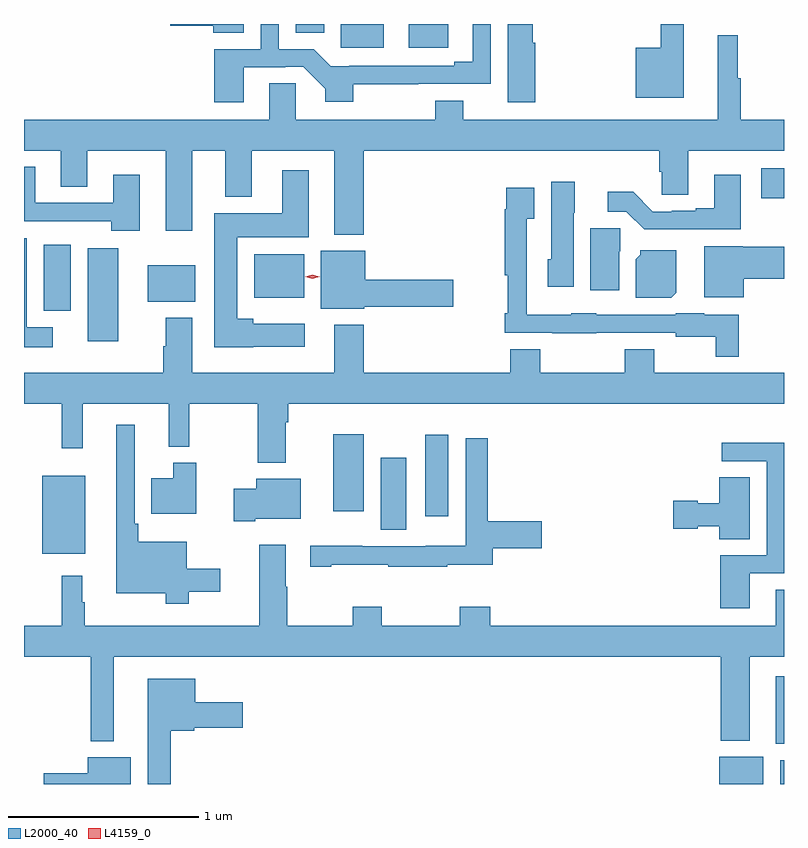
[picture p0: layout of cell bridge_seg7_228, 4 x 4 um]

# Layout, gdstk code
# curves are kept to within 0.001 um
import gdstk
lib = gdstk.Library(unit=1e-6, precision=1e-09)
def R(c, l, rs):  # rectangles x0, y0, x1, y1
    for r in rs: c.add(gdstk.rectangle(r[:2], r[2:], *l))
def P(c, l, *ps):  # polygons
    for p in ps: c.add(gdstk.Polygon(p, *l))
L2000_40 = (2000, 40)
L4159_0 = (4159, 0)

bridge_seg7_228 = lib.new_cell('bridge_seg7_228')
R(bridge_seg7_228, L2000_40, [(283.016,1062.551,283.249,1062.694), (283.337,1062.551,283.357,1062.676), (283.313,1062.764,283.357,1063.117), (279.452,1063.763,279.679,1064.173), (281.234,1063.888,281.368,1064.269), (281.468,1063.959,281.59,1064.389), (280.985,1063.986,281.146,1064.392), (279.692,1064.88,279.853,1065.37), (279.461,1065.041,279.604,1065.388), (280.007,1065.089,280.258,1065.28), (280.568,1065.11,280.831,1065.34), (283.236,1065.635,283.357,1065.793), (281.024,1066.427,281.251,1066.551), (281.381,1066.427,281.59,1066.551), (280.787,1066.504,280.936,1066.551)])
P(bridge_seg7_228, L2000_40, [(280.513,1066.323),(280.733,1066.323),(280.733,1066.326),(280.827,1066.326),(280.943,1066.21),(280.943,1066.142),(281.091,1066.142),(281.091,1066.235),(281.814,1066.236),(281.814,1066.551),(281.718,1066.551),(281.718,1066.352),(281.621,1066.352),(281.621,1066.332),(281.068,1066.332),(281.068,1066.329),(280.972,1066.329),(280.882,1066.419),(280.698,1066.419),(280.698,1066.551),(280.602,1066.551),(280.602,1066.419),(280.358,1066.419),(280.358,1066.14),(280.513,1066.14)],
  [(282.047,1066.452),(282.034,1066.452),(282.034,1066.551),(281.903,1066.551),(281.903,1066.14),(282.047,1066.14)],
  [(282.829,1066.551),(282.708,1066.551),(282.708,1066.426),(282.578,1066.426),(282.578,1066.163),(282.829,1066.163)],
  [(280.513,1066.551),(280.128,1066.551),(280.128,1066.541),(280.352,1066.541),(280.352,1066.504),(280.513,1066.504)],
  [(283.357,1066.048),(283.129,1066.048),(283.129,1066.265),(283.114,1066.265),(283.114,1066.492),(283.007,1066.492),(283.007,1066.048),(281.668,1066.048),(281.668,1066.147),(281.521,1066.147),(281.521,1066.048),(280.788,1066.048),(280.788,1066.238),(280.649,1066.238),(280.649,1066.048),(279.357,1066.048),(279.357,1065.884),(279.551,1065.884),(279.551,1065.694),(279.691,1065.694),(279.691,1065.884),(280.103,1065.884),(280.103,1065.462),(280.243,1065.462),(280.243,1065.884),(280.415,1065.884),(280.415,1065.641),(280.555,1065.641),(280.555,1065.884),(280.991,1065.884),(280.991,1065.443),(281.144,1065.443),(281.144,1065.884),(282.701,1065.884),(282.701,1065.774),(282.714,1065.774),(282.714,1065.652),(282.853,1065.652),(282.853,1065.884),(283.357,1065.884)],
  [(279.967,1065.757),(279.827,1065.757),(279.827,1065.609),(279.415,1065.609),(279.415,1065.799),(279.357,1065.799),(279.357,1065.513),(279.815,1065.513),(279.815,1065.462),(279.967,1065.462)],
  [(280.563,1064.852),(280.834,1064.852),(280.834,1064.974),(280.563,1064.974),(280.563,1065.001),(280.48,1065.001),(280.48,1065.428),(280.855,1065.428),(280.855,1065.781),(280.715,1065.781),(280.715,1065.556),(280.358,1065.556),(280.358,1064.849),(280.563,1064.849)],
  [(283.129,1065.757),(282.989,1065.757),(282.989,1065.58),(282.893,1065.58),(282.893,1065.567),(282.766,1065.567),(282.766,1065.564),(282.666,1065.564),(282.564,1065.667),(282.429,1065.667),(282.429,1065.564),(282.528,1065.564),(282.622,1065.47),(283.129,1065.47)],
  [(282.25,1065.558),(282.256,1065.558),(282.256,1065.721),(282.131,1065.721),(282.131,1065.312),(282.113,1065.312),(282.113,1065.168),(282.25,1065.168)],
  [(283.12,1065.022),(282.936,1065.022),(282.936,1065.028),(282.786,1065.028),(282.786,1065.021),(282.369,1065.021),(282.369,1065.028),(282.237,1065.028),(282.237,1065.022),(282.003,1065.022),(282.003,1065.527),(282.043,1065.527),(282.043,1065.688),(281.895,1065.688),(281.895,1065.575),(281.887,1065.575),(281.887,1065.228),(281.902,1065.228),(281.902,1065.028),(281.887,1065.028),(281.887,1064.925),(282.137,1064.925),(282.137,1064.924),(282.369,1064.924),(282.369,1064.925),(282.786,1064.925),(282.786,1064.906),(282.999,1064.906),(282.999,1064.801),(283.12,1064.801)],
  [(282.49,1065.354),(282.494,1065.354),(282.494,1065.477),(282.338,1065.477),(282.338,1065.15),(282.49,1065.15)],
  [(279.508,1064.956),(279.372,1064.956),(279.372,1065.423),(279.357,1065.423),(279.357,1064.849),(279.508,1064.849)],
  [(283.144,1065.209),(283.357,1065.209),(283.357,1065.379),(283.14,1065.379),(283.14,1065.382),(282.938,1065.382),(282.938,1065.113),(283.144,1065.113)],
  [(282.79,1065.136),(282.79,1065.361),(282.6,1065.361),(282.6,1065.336),(282.578,1065.314),(282.578,1065.11),(282.764,1065.11)],
  [(281.148,1065.064),(281.617,1065.064),(281.617,1065.206),(281.152,1065.206),(281.152,1065.358),(280.919,1065.358),(280.919,1065.053),(281.148,1065.053)],
  [(280.735,1064.456),(280.748,1064.456),(280.748,1064.552),(283.357,1064.552),(283.357,1064.716),(282.675,1064.716),(282.675,1064.84),(282.52,1064.84),(282.52,1064.716),(282.075,1064.716),(282.075,1064.84),(281.915,1064.84),(281.915,1064.716),(281.144,1064.716),(281.144,1064.968),(280.991,1064.968),(280.991,1064.716),(280.243,1064.716),(280.243,1065.004),(280.103,1065.004),(280.103,1064.855),(280.091,1064.855),(280.091,1064.716),(279.357,1064.716),(279.357,1064.552),(279.555,1064.552),(279.555,1064.319),(279.665,1064.319),(279.665,1064.552),(280.118,1064.552),(280.118,1064.327),(280.228,1064.327),(280.228,1064.552),(280.588,1064.552),(280.588,1064.243),(280.735,1064.243)],
  [(280.225,1063.562),(280.39,1063.562),(280.39,1063.684),(280.213,1063.684),(280.213,1063.825),(279.959,1063.825),(279.959,1063.921),(279.939,1063.921),(279.939,1064.443),(279.842,1064.443),(279.842,1063.556),(280.104,1063.556),(280.104,1063.499),(280.225,1063.499)],
  [(280.975,1063.705),(281.275,1063.705),(281.275,1063.695),(281.585,1063.695),(281.585,1063.705),(281.825,1063.705),(281.825,1063.792),(282.082,1063.792),(282.082,1063.934),(281.798,1063.934),(281.798,1064.371),(281.682,1064.371),(281.682,1063.804),(281.472,1063.804),(281.472,1063.803),(281.138,1063.803),(281.138,1063.805),(280.863,1063.805),(280.863,1063.695),(280.975,1063.695)],
  [(283.177,1063.659),(283.357,1063.659),(283.357,1064.348),(283.029,1064.348),(283.029,1064.25),(283.266,1064.25),(283.266,1063.755),(283.022,1063.755),(283.022,1063.476),(283.177,1063.476)],
  [(280.264,1064.242),(280.142,1064.242),(280.142,1064.161),(280.028,1064.161),(280.028,1063.973),(280.264,1063.973)],
  [(283.177,1064.165),(283.016,1064.165),(283.016,1064.029),(282.903,1064.029),(282.903,1064.042),(282.774,1064.042),(282.774,1063.895),(282.903,1063.895),(282.903,1063.907),(283.016,1063.907),(283.016,1063.84),(283.177,1063.84)],
  [(280.573,1063.946),(280.813,1063.946),(280.813,1064.158),(280.58,1064.158),(280.58,1064.104),(280.461,1064.104),(280.461,1063.934),(280.573,1063.934)],
  [(279.829,1063.22),(283.025,1063.22),(283.025,1062.779),(283.177,1062.779),(283.177,1063.22),(283.357,1063.22),(283.357,1063.574),(283.313,1063.574),(283.313,1063.384),(281.81,1063.384),(281.81,1063.483),(281.65,1063.483),(281.65,1063.384),(281.241,1063.384),(281.241,1063.483),(281.086,1063.483),(281.086,1063.384),(280.743,1063.384),(280.743,1063.589),(280.735,1063.589),(280.735,1063.81),(280.595,1063.81),(280.595,1063.384),(279.676,1063.384),(279.676,1063.508),(279.664,1063.508),(279.664,1063.648),(279.555,1063.648),(279.555,1063.384),(279.357,1063.384),(279.357,1063.22),(279.708,1063.22),(279.708,1062.776),(279.829,1062.776)],
  [(280.129,1062.83),(280.254,1062.83),(280.254,1062.848),(280.507,1062.848),(280.507,1062.982),(280.258,1062.982),(280.258,1063.105),(280.007,1063.105),(280.007,1062.551),(280.129,1062.551)],
  [(279.919,1062.691),(279.692,1062.691),(279.692,1062.608),(279.462,1062.608),(279.462,1062.551),(279.919,1062.551)])
P(bridge_seg7_228, L4159_0, [(280.875,1065.211),(280.836,1065.221),(280.836,1065.221),(280.836,1065.221),(280.875,1065.231),(280.913,1065.221),(280.913,1065.221),(280.913,1065.221)])

lib.write_gds('bridge_seg7_228.gds')
